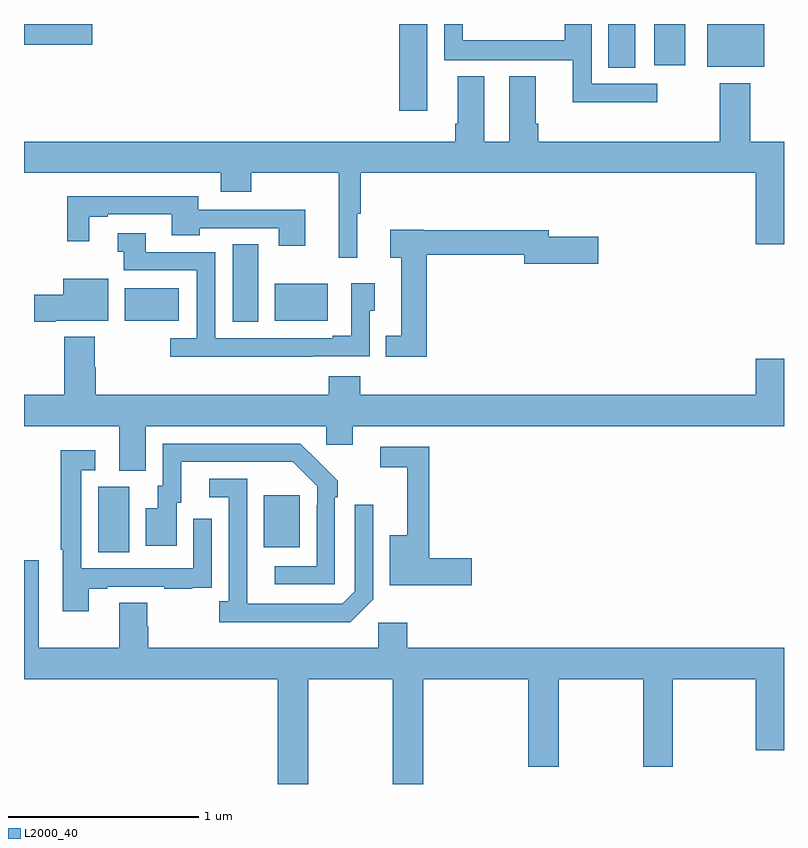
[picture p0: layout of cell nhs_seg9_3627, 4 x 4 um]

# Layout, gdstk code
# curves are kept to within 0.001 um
import gdstk
lib = gdstk.Library(unit=1e-6, precision=1e-09)
def R(c, l, rs):  # rectangles x0, y0, x1, y1
    for r in rs: c.add(gdstk.rectangle(r[:2], r[2:], *l))
def P(c, l, *ps):  # polygons
    for p in ps: c.add(gdstk.Polygon(p, *l))
L2000_40 = (2000, 40)

nhs_seg9_3627 = lib.new_cell('nhs_seg9_3627')
R(nhs_seg9_3627, L2000_40, [(317.39,1231.72,317.554,1232.064), (318.263,1231.745,318.451,1232.02), (318.098,1232.932,318.232,1233.341), (317.531,1232.939,317.815,1233.109), (318.32,1232.939,318.598,1233.133), (318.974,1234.044,319.123,1234.5), (320.075,1234.27,320.218,1234.5), (320.597,1234.274,320.897,1234.5), (320.318,1234.284,320.479,1234.5), (317,1234.391,317.359,1234.5)])
P(nhs_seg9_3627, L2000_40, [(320.332,1234.185),(319.987,1234.185),(319.987,1234.5),(319.847,1234.5),(319.847,1234.414),(319.308,1234.414),(319.308,1234.5),(319.212,1234.5),(319.212,1234.31),(319.889,1234.31),(319.889,1234.088),(320.332,1234.088)],
  [(318.754,1233.501),(318.773,1233.501),(318.773,1233.716),(320.852,1233.716),(320.852,1233.342),(321,1233.342),(321,1233.88),(320.822,1233.88),(320.822,1234.189),(320.662,1234.189),(320.662,1233.88),(319.706,1233.88),(319.706,1233.976),(319.693,1233.976),(319.693,1234.225),(319.553,1234.225),(319.553,1233.88),(319.423,1233.88),(319.423,1234.225),(319.283,1234.225),(319.283,1233.976),(319.271,1233.976),(319.271,1233.88),(317,1233.88),(317,1233.716),(318.035,1233.716),(318.035,1233.617),(318.195,1233.617),(318.195,1233.716),(318.656,1233.716),(318.656,1233.27),(318.754,1233.27)],
  [(318.481,1233.522),(317.917,1233.522),(317.917,1233.594),(317.227,1233.594),(317.227,1233.357),(317.344,1233.357),(317.344,1233.486),(317.44,1233.486),(317.44,1233.498),(317.777,1233.498),(317.777,1233.389),(317.925,1233.389),(317.925,1233.426),(318.341,1233.426),(318.341,1233.333),(318.481,1233.333)],
  [(319.121,1233.286),(319.634,1233.286),(319.634,1233.239),(320.023,1233.239),(320.023,1233.381),(319.762,1233.381),(319.762,1233.415),(319.104,1233.415),(319.104,1233.418),(318.927,1233.418),(318.927,1233.271),(318.986,1233.271),(318.986,1232.86),(318.904,1232.86),(318.904,1232.75),(319.121,1232.75)],
  [(318.521,1232.751),(318.819,1232.751),(318.819,1232.991),(318.847,1232.991),(318.847,1233.136),(318.723,1233.136),(318.723,1232.86),(318.626,1232.86),(318.626,1232.847),(318.006,1232.847),(318.006,1233.3),(317.641,1233.3),(317.641,1233.399),(317.493,1233.399),(317.493,1233.302),(317.524,1233.302),(317.524,1233.204),(317.91,1233.204),(317.91,1232.847),(317.769,1232.847),(317.769,1232.75),(318.521,1232.75)],
  [(317.167,1232.939),(317.443,1232.939),(317.443,1233.16),(317.207,1233.16),(317.207,1233.074),(317.055,1233.074),(317.055,1232.932),(317.167,1232.932)],
  [(317.378,1232.693),(317.373,1232.693),(317.373,1232.854),(317.213,1232.854),(317.213,1232.548),(317,1232.548),(317,1232.384),(317.501,1232.384),(317.501,1232.149),(317.641,1232.149),(317.641,1232.384),(318.591,1232.384),(318.591,1232.286),(318.73,1232.286),(318.73,1232.384),(321,1232.384),(321,1232.737),(320.852,1232.737),(320.852,1232.548),(318.77,1232.548),(318.77,1232.647),(318.605,1232.647),(318.605,1232.548),(317.378,1232.548)],
  [(318.636,1232.009),(318.651,1232.009),(318.651,1232.097),(318.454,1232.292),(317.73,1232.292),(317.73,1232.07),(317.705,1232.07),(317.705,1231.951),(317.642,1231.951),(317.642,1231.755),(317.803,1231.755),(317.803,1231.98),(317.827,1231.98),(317.827,1232.196),(318.415,1232.196),(318.543,1232.067),(318.543,1231.967),(318.54,1231.967),(318.54,1231.647),(318.321,1231.647),(318.321,1231.551),(318.636,1231.551)],
  [(319.357,1231.688),(319.133,1231.688),(319.133,1232.274),(318.876,1232.274),(318.876,1232.166),(319.016,1232.166),(319.016,1231.81),(318.926,1231.81),(318.926,1231.546),(319.357,1231.546)],
  [(317.341,1231.527),(317.437,1231.527),(317.437,1231.539),(317.737,1231.539),(317.737,1231.527),(317.885,1231.527),(317.885,1231.533),(317.987,1231.533),(317.987,1231.642),(317.988,1231.642),(317.988,1231.897),(317.892,1231.897),(317.892,1231.635),(317.301,1231.635),(317.301,1232.151),(317.374,1232.151),(317.374,1232.257),(317.193,1232.257),(317.193,1231.732),(317.205,1231.732),(317.205,1231.41),(317.341,1231.41)],
  [(318.837,1231.473),(318.837,1231.969),(318.741,1231.969),(318.741,1231.515),(318.675,1231.449),(318.175,1231.449),(318.174,1232.106),(317.976,1232.106),(317.976,1232.01),(318.078,1232.01),(318.078,1231.462),(318.027,1231.462),(318.027,1231.352),(318.716,1231.352)],
  [(318.495,1231.052),(318.94,1231.052),(318.94,1230.5),(319.1,1230.5),(319.1,1231.052),(319.655,1231.052),(319.655,1230.591),(319.815,1230.591),(319.815,1231.052),(320.26,1231.052),(320.26,1230.591),(320.415,1230.591),(320.415,1231.052),(320.852,1231.052),(320.852,1230.678),(321,1230.678),(321,1231.216),(319.016,1231.216),(319.016,1231.348),(318.864,1231.348),(318.864,1231.216),(317.654,1231.216),(317.654,1231.329),(317.649,1231.329),(317.649,1231.454),(317.501,1231.454),(317.501,1231.216),(317.077,1231.216),(317.077,1231.678),(317,1231.678),(317,1231.052),(318.335,1231.052),(318.335,1230.5),(318.495,1230.5)])

lib.write_gds('nhs_seg9_3627.gds')
